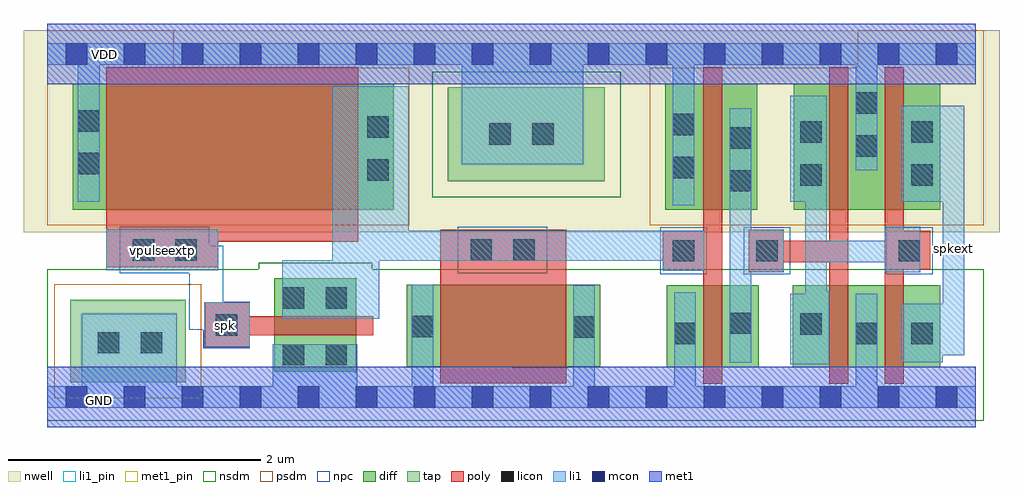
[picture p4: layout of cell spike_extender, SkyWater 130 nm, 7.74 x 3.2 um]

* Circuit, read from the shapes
.subckt spike_extender GND VDD spk spkext vpulseextp
XM1 n1 spk GND GND sky130_fd_pr__nfet_01v8 w=0.65 l=0.15
XM2 GND n1 GND GND sky130_fd_pr__nfet_01v8 w=0.65 l=1
XM3 n2 n1 GND GND sky130_fd_pr__nfet_01v8 w=0.65 l=0.15
XM4 GND n2 n3 GND sky130_fd_pr__nfet_01v8 w=0.65 l=0.15
XM5 spkext n3 GND GND sky130_fd_pr__nfet_01v8 w=0.65 l=0.15
XM6 n1 vpulseextp VDD VDD sky130_fd_pr__pfet_01v8 w=1 l=2
XM7 n2 n1 VDD VDD sky130_fd_pr__pfet_01v8 w=1 l=0.15
XM8 VDD n2 n3 VDD sky130_fd_pr__pfet_01v8 w=1 l=0.15
XM9 spkext n3 VDD VDD sky130_fd_pr__pfet_01v8 w=1 l=0.15
.ends

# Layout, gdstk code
import gdstk
lib = gdstk.Library(unit=1e-6, precision=1e-09)
def R(c, l, rs):  # rectangles x0, y0, x1, y1
    for r in rs: c.add(gdstk.rectangle(r[:2], r[2:], *l))
def A(c, l, x, y, w, h, nx, ny, dx, dy):  # array of equal rectangles
    R(c, l, [(x+i*dx, y+j*dy, x+i*dx+w, y+j*dy+h) for i in range(nx) for j in range(ny)])
nwell = (64, 20)
diff = (65, 20)
tap = (65, 44)
poly = (66, 20)
licon = (66, 44)
li1_pin = (67, 16)
li1 = (67, 20)
mcon = (67, 44)
met1_pin = (68, 16)
met1 = (68, 20)
nsdm = (93, 44)
psdm = (94, 20)
npc = (95, 20)

spike_extender = lib.new_cell('spike_extender')
R(spike_extender, nwell, [(-0.19,1.305,7.55,2.91)])
R(spike_extender, diff, [(1.8,0.2,2.45,0.94), (4.91,0.235,5.64,0.885), (5.91,0.235,7.08,0.885), (2.85,0.24,4.385,0.89), (0.2,1.485,2.745,2.485), (4.9,1.485,5.63,2.485), (5.92,1.485,7.08,2.485)])
R(spike_extender, tap, [(0.18,0.115,1.095,0.77), (3.175,1.71,4.42,2.455)])
R(spike_extender, poly, [(5.2,0.105,5.35,1), (6.2,0.105,6.35,1.07), (6.64,0.105,6.79,1.01), (3.115,0.11,4.115,1.325), (1.25,0.4,1.605,0.49), (1.25,0.49,2.585,0.64), (1.25,0.64,1.605,0.75), (5.56,0.99,5.84,1.07), (4.88,1,5.35,1.32), (6.64,1.01,7,1.32), (0.465,1.03,1.355,1.23), (5.56,1.07,6.35,1.24), (0.465,1.23,2.465,2.615), (5.56,1.24,5.84,1.325), (6.2,1.24,6.35,2.615), (5.2,1.32,5.35,2.615), (6.64,1.32,6.79,2.615)])
R(spike_extender, licon, [(1.865,0.25,2.035,0.42), (2.205,0.25,2.375,0.42), (0.4,0.345,0.57,0.515), (0.74,0.345,0.91,0.515), (4.97,0.42,5.14,0.59), (6.41,0.42,6.58,0.59), (6.85,0.42,7.02,0.59), (4.17,0.47,4.34,0.64), (2.89,0.475,3.06,0.645), (1.335,0.485,1.505,0.655), (5.97,0.495,6.14,0.665), (5.41,0.5,5.58,0.67), (1.865,0.7,2.035,0.87), (2.205,0.7,2.375,0.87), (4.96,1.075,5.13,1.245), (5.62,1.075,5.79,1.245), (6.75,1.075,6.92,1.245), (0.675,1.08,0.845,1.25), (1.015,1.08,1.185,1.25), (3.355,1.08,3.525,1.25), (3.695,1.08,3.865,1.25), (5.41,1.63,5.58,1.8), (5.97,1.675,6.14,1.845), (6.85,1.675,7.02,1.845), (2.535,1.715,2.705,1.885), (4.96,1.735,5.13,1.905), (0.24,1.765,0.41,1.935), (6.41,1.905,6.58,2.075), (5.41,1.97,5.58,2.14), (3.505,2,3.675,2.17), (3.845,2,4.015,2.17), (5.97,2.015,6.14,2.185), (6.85,2.015,7.02,2.185), (2.535,2.055,2.705,2.225), (4.96,2.075,5.13,2.245), (0.24,2.105,0.41,2.275), (6.41,2.245,6.58,2.415)])
R(spike_extender, li1_pin, [(1.41,0.56,1.42,0.57), (0.91,1.16,0.92,1.17), (7.18,1.17,7.19,1.18)])
R(spike_extender, li1, [(0,-0.085,7.36,0.085), (0.27,0.085,1.025,0.66), (1.785,0.085,2.455,0.42), (2.89,0.085,3.06,0.89), (4.17,0.085,4.34,0.885), (4.97,0.085,5.14,0.83), (6.41,0.085,6.58,0.82), (5.89,0.26,6.2,0.82), (5.41,0.27,5.58,0.99), (6.77,0.275,7.1,0.33), (6.77,0.33,7.27,0.74), (1.245,0.395,1.605,0.75), (1.86,0.62,2.63,1.08), (7.1,0.74,7.27,1.55), (6.01,0.82,6.2,0.84), (6.01,0.84,6.18,1.07), (5.41,0.99,5.84,1.325), (6.64,0.99,6.92,1.07), (4.88,1,5.21,1.08), (0.465,1.005,1.355,1.33), (6.01,1.07,6.92,1.24), (1.86,1.08,5.21,1.085), (2.26,1.085,5.21,1.32), (6.01,1.24,6.18,1.55), (6.64,1.24,6.92,1.35), (2.26,1.32,2.865,2.465), (5.41,1.325,5.58,2.29), (4.96,1.52,5.13,2.635), (0.24,1.55,0.415,2.635), (5.89,1.55,6.18,2.39), (6.77,1.55,7.27,2.31), (6.41,1.8,6.58,2.635), (3.285,1.845,4.25,2.635), (0,2.635,7.36,2.805)])
A(spike_extender, mcon, 0.145, -0.085, 0.17, 0.17, 16, 2, 0.46, 2.72)
R(spike_extender, met1_pin, [(0.41,-0.03,0.42,-0.02), (0.45,2.71,0.46,2.72)])
R(spike_extender, met1, [(0,-0.24,7.36,0.235), (0,0.235,3.68,0.24), (4.13,0.235,7.36,0.24), (0,2.48,7.36,2.96)])
R(spike_extender, nsdm, [(0,-0.19,7.425,1.015), (1.675,1.015,2.575,1.065), (3.05,1.585,4.545,2.58)])
R(spike_extender, psdm, [(0.055,-0.01,1.22,0.895), (0,1.36,2.87,2.61), (4.775,1.36,7.425,2.61), (0,2.61,1,2.91), (6.425,2.61,7.425,2.91)])
R(spike_extender, npc, [(1.235,0.385,1.605,0.535), (1.125,0.535,1.605,0.755), (1.125,0.755,1.395,0.98), (4.86,0.975,5.23,1.345), (5.52,0.975,5.89,1.345), (6.65,0.975,7.02,1.345), (0.575,0.98,1.395,1.2), (3.255,0.98,3.965,1.35), (0.575,1.2,1.285,1.35)])
spike_extender.add(gdstk.Label('spk', (1.415,0.565), layer=67, texttype=5))
spike_extender.add(gdstk.Label('vpulseextp', (0.915,1.165), layer=67, texttype=5))
spike_extender.add(gdstk.Label('spkext', (7.185,1.175), layer=67, texttype=5))
spike_extender.add(gdstk.Label('GND', (0.415,-0.025), layer=68, texttype=5))
spike_extender.add(gdstk.Label('VDD', (0.455,2.715), layer=68, texttype=5))

lib.write_gds('spike_extender.gds')
